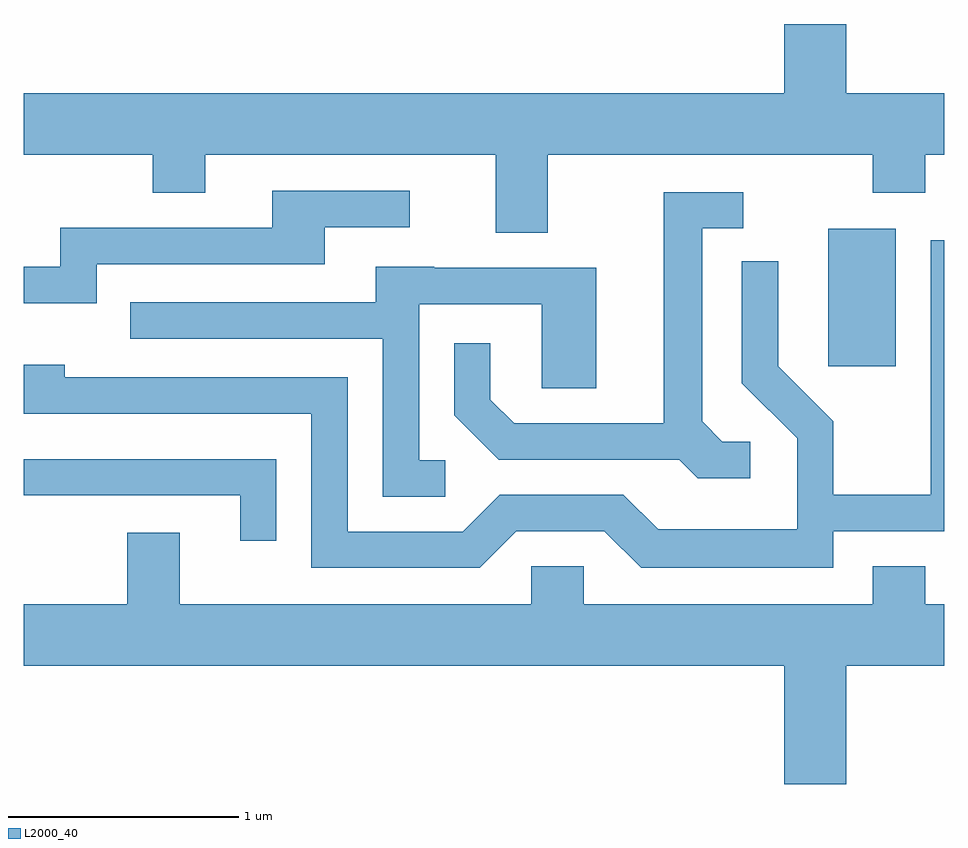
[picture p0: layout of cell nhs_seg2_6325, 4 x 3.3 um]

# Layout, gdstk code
import gdstk
lib = gdstk.Library(unit=1e-6, precision=1e-09)
def R(c, l, rs):  # rectangles x0, y0, x1, y1
    for r in rs: c.add(gdstk.rectangle(r[:2], r[2:], *l))
def P(c, l, *ps):  # polygons
    for p in ps: c.add(gdstk.Polygon(p, *l))
L2000_40 = (2000, 40)

nhs_seg2_6325 = lib.new_cell('nhs_seg2_6325')
R(nhs_seg2_6325, L2000_40, [(375.106,1049.616,375.399,1050.214)])
P(nhs_seg2_6325, L2000_40, [(373.889,1050.536),(375.301,1050.536),(375.301,1050.371),(375.529,1050.371),(375.529,1050.536),(375.611,1050.536),(375.611,1050.804),(375.184,1050.804),(375.184,1051.104),(374.916,1051.104),(374.916,1050.804),(371.611,1050.804),(371.611,1050.536),(372.171,1050.536),(372.171,1050.371),(372.399,1050.371),(372.399,1050.536),(373.661,1050.536),(373.661,1050.196),(373.889,1050.196)],
  [(371.929,1050.061),(372.919,1050.061),(372.919,1050.221),(373.288,1050.221),(373.288,1050.379),(372.691,1050.379),(372.691,1050.219),(371.771,1050.219),(371.771,1050.049),(371.611,1050.049),(371.611,1049.891),(371.929,1049.891)],
  [(374.768,1049.289),(374.647,1049.289),(374.559,1049.377),(374.559,1050.216),(374.738,1050.216),(374.738,1050.374),(374.391,1050.374),(374.391,1049.369),(373.742,1049.369),(373.639,1049.472),(373.639,1049.718),(373.481,1049.718),(373.481,1049.404),(373.674,1049.211),(374.459,1049.211),(374.539,1049.131),(374.768,1049.131)],
  [(373.752,1048.901),(374.134,1048.901),(374.294,1048.741),(375.129,1048.741),(375.129,1048.901),(375.611,1048.901),(375.611,1050.164),(375.551,1050.164),(375.551,1049.059),(375.129,1049.059),(375.129,1049.377),(374.889,1049.617),(374.889,1050.073),(374.731,1050.073),(374.731,1049.544),(374.971,1049.304),(374.971,1048.909),(374.367,1048.909),(374.217,1049.059),(373.679,1049.059),(373.519,1048.899),(373.019,1048.899),(373.019,1049.569),(371.789,1049.569),(371.789,1049.624),(371.611,1049.624),(371.611,1049.411),(372.861,1049.411),(372.861,1048.741),(373.592,1048.741)],
  [(373.443,1049.209),(373.329,1049.209),(373.329,1049.886),(373.861,1049.886),(373.861,1049.521),(374.099,1049.521),(374.099,1050.044),(373.395,1050.044),(373.395,1050.049),(373.141,1050.049),(373.141,1049.894),(372.073,1049.894),(372.073,1049.736),(373.171,1049.736),(373.171,1049.051),(373.443,1049.051)],
  [(372.709,1049.214),(371.611,1049.214),(371.611,1049.056),(372.551,1049.056),(372.551,1048.858),(372.709,1048.858)],
  [(375.184,1048.316),(375.611,1048.316),(375.611,1048.584),(375.529,1048.584),(375.529,1048.749),(375.301,1048.749),(375.301,1048.584),(374.044,1048.584),(374.044,1048.749),(373.816,1048.749),(373.816,1048.584),(372.289,1048.584),(372.289,1048.894),(372.061,1048.894),(372.061,1048.584),(371.611,1048.584),(371.611,1048.316),(374.916,1048.316),(374.916,1047.802),(375.184,1047.802)])

lib.write_gds('nhs_seg2_6325.gds')
